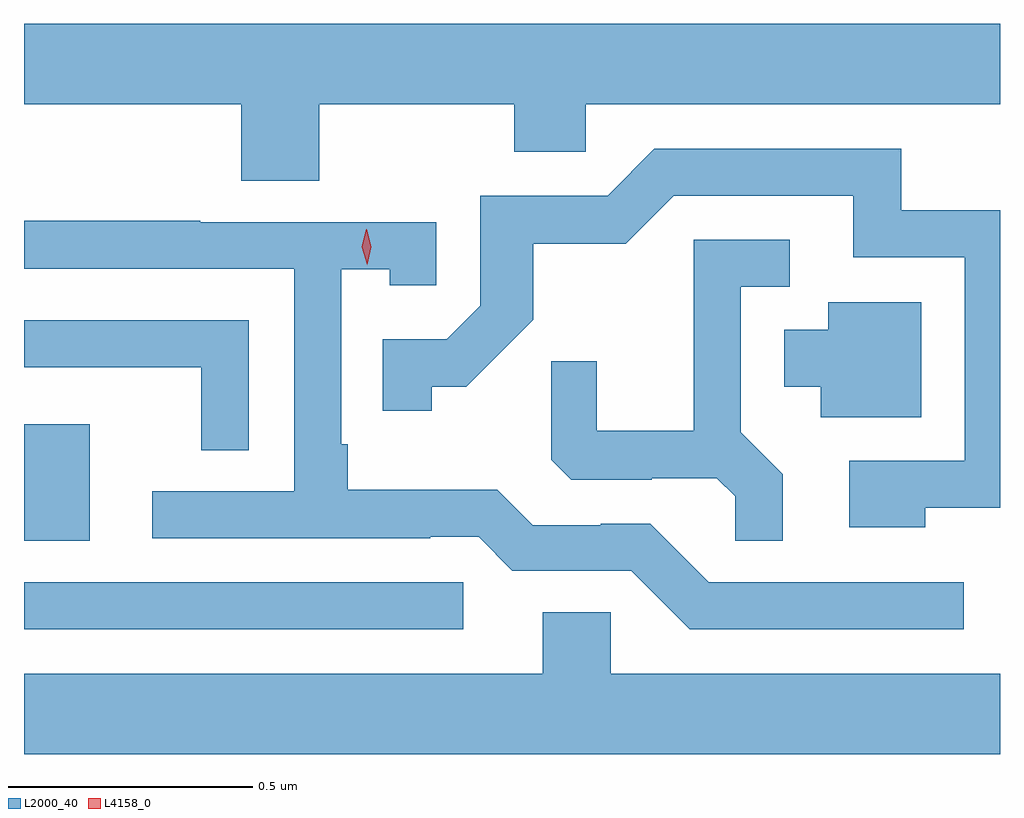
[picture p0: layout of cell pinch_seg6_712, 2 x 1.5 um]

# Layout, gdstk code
import gdstk
lib = gdstk.Library(unit=1e-6, precision=1e-09)
def R(c, l, rs):  # rectangles x0, y0, x1, y1
    for r in rs: c.add(gdstk.rectangle(r[:2], r[2:], *l))
def P(c, l, *ps):  # polygons
    for p in ps: c.add(gdstk.Polygon(p, *l))
L2000_40 = (2000, 40)
L4158_0 = (4158, 0)

pinch_seg6_712 = lib.new_cell('pinch_seg6_712')
R(pinch_seg6_712, L2000_40, [(486.256,948.924,487.156,949.02), (486.256,949.105,486.391,949.344)])
P(pinch_seg6_712, L2000_40, [(486.861,950),(487.261,950),(487.261,949.902),(487.407,949.902),(487.407,950),(488.256,950),(488.256,950.164),(486.256,950.164),(486.256,950),(486.701,950),(486.701,949.843),(486.861,949.843)],
  [(488.103,949.173),(488.256,949.173),(488.256,949.782),(488.054,949.782),(488.054,949.908),(487.548,949.908),(487.452,949.812),(487.191,949.812),(487.191,949.587),(487.122,949.518),(486.991,949.518),(486.991,949.371),(487.092,949.371),(487.092,949.421),(487.162,949.421),(487.3,949.558),(487.3,949.714),(487.489,949.714),(487.587,949.812),(487.955,949.812),(487.955,949.686),(488.184,949.686),(488.184,949.269),(487.947,949.269),(487.947,949.133),(488.103,949.133)],
  [(488.182,949.02),(487.659,949.02),(487.539,949.14),(487.438,949.14),(487.438,949.137),(487.299,949.137),(487.226,949.21),(486.919,949.21),(486.919,949.303),(486.906,949.303),(486.906,949.661),(487.005,949.661),(487.005,949.629),(487.101,949.629),(487.101,949.758),(486.617,949.758),(486.617,949.761),(486.256,949.761),(486.256,949.662),(486.81,949.662),(486.81,949.206),(486.519,949.206),(486.519,949.11),(487.088,949.11),(487.088,949.113),(487.188,949.113),(487.257,949.044),(487.5,949.044),(487.62,948.924),(488.182,948.924)],
  [(487.811,949.241),(487.725,949.327),(487.725,949.626),(487.825,949.626),(487.825,949.722),(487.628,949.722),(487.628,949.33),(487.43,949.33),(487.43,949.473),(487.336,949.473),(487.336,949.271),(487.377,949.23),(487.542,949.23),(487.542,949.233),(487.676,949.233),(487.713,949.196),(487.713,949.105),(487.811,949.105)],
  [(488.095,949.594),(487.904,949.594),(487.904,949.537),(487.814,949.537),(487.814,949.421),(487.889,949.421),(487.889,949.358),(488.095,949.358)],
  [(486.717,949.557),(486.256,949.557),(486.256,949.461),(486.619,949.461),(486.619,949.291),(486.717,949.291)],
  [(488.256,948.832),(487.458,948.832),(487.458,948.959),(487.319,948.959),(487.319,948.832),(486.256,948.832),(486.256,948.668),(488.256,948.668)])
P(pinch_seg6_712, L4158_0, [(486.959,949.671),(486.959,949.671),(486.948,949.707),(486.957,949.743),(486.958,949.743),(486.958,949.743),(486.968,949.707),(486.959,949.671)])

lib.write_gds('pinch_seg6_712.gds')
